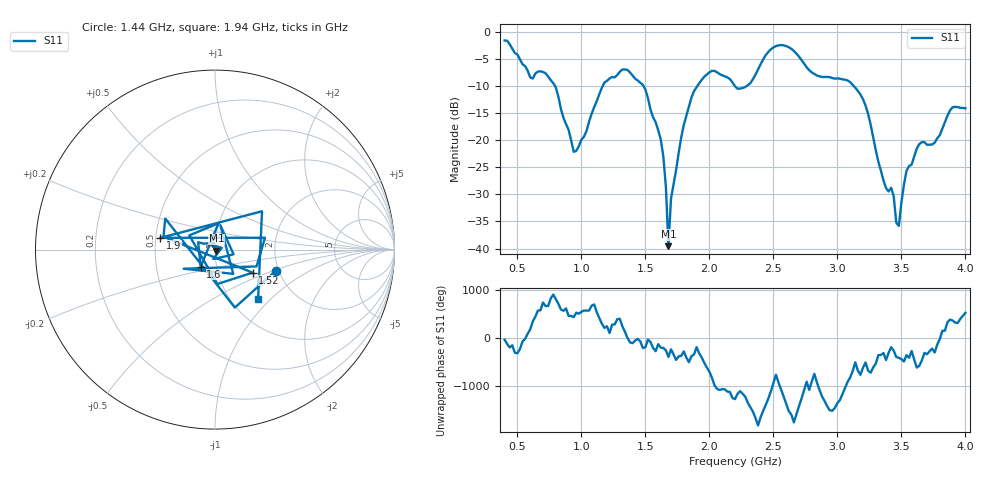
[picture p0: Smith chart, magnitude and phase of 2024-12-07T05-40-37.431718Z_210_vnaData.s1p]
!Created with skrf (http://scikit-rf.org).
# Hz S RI R 50.0
!freq ReS11 ImS11
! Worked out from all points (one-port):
!   181 points, 400 MHz to 4 GHz, reference 50 ohm
!   lowest |S11| = -39.6 dB at 1.68 GHz (marker M1), VSWR 1.02, Z = 50.8 - j0.654 ohm
!   |S11| at or under -10 dB: 795.5 MHz to 1.165 GHz (369.7 MHz wide, 37.7 % of centre); 1.487 GHz to 1.904 GHz (417.6 MHz wide, 24.6 % of centre); 3.13 GHz to end of sweep (the widest 3 of 4)
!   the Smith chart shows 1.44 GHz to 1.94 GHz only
!   S11 on the Smith chart (normalised r, x): 1.44 GHz: 1.93, -0.52; 1.52 GHz: 1.47, -0.40; 1.6 GHz: 0.84, -0.16; 1.9 GHz: 0.53, +0.08; 1.94 GHz: 1.33, -0.84
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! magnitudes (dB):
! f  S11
! 400 MHz  -1.5
! 600 MHz  -8.3
! 780 MHz  -9.4
! 860 MHz  -15.9
! 960 MHz  -21.9
! 1.18 GHz  -9.3
! 1.3 GHz  -7.3
! 1.44 GHz  -8.9
! 1.52 GHz  -12.2
! 1.6 GHz  -18.1
! 1.64 GHz  -23.0
! 1.66 GHz  -28.6
! 1.68 GHz  -39.6
! 1.7 GHz  -30.8
! 1.76 GHz  -22.3
! 1.9 GHz  -10.2
! 1.94 GHz  -8.8
! 2.2 GHz  -10.0
! 2.5 GHz  -2.8
! 2.66 GHz  -3.4
! 3.1 GHz  -9.2
! 3.22 GHz  -13.5
! 3.36 GHz  -27.4
! 3.44 GHz  -30.3
! 3.46 GHz  -35.2
! 3.48 GHz  -35.8
! 3.56 GHz  -24.7
! 4 GHz  -14.1
